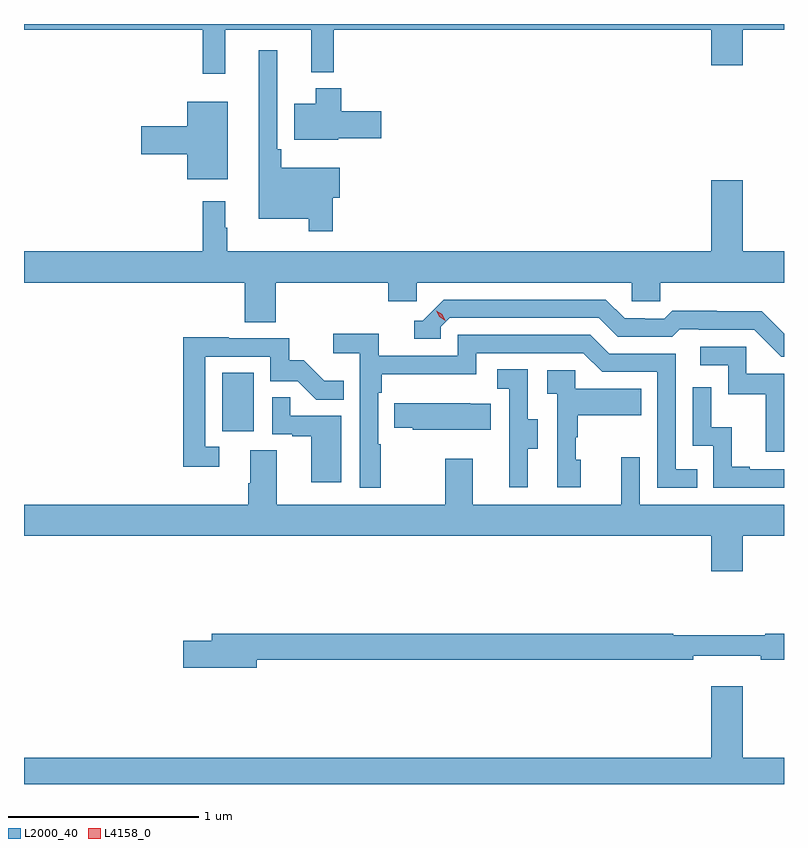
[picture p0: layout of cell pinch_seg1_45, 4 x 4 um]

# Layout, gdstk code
import gdstk
lib = gdstk.Library(unit=1e-6, precision=1e-09)
def R(c, l, rs):  # rectangles x0, y0, x1, y1
    for r in rs: c.add(gdstk.rectangle(r[:2], r[2:], *l))
def P(c, l, *ps):  # polygons
    for p in ps: c.add(gdstk.Polygon(p, *l))
L2000_40 = (2000, 40)
L4158_0 = (4158, 0)

pinch_seg1_45 = lib.new_cell('pinch_seg1_45')
R(pinch_seg1_45, L2000_40, [(1097.498,564.27,1097.662,564.577)])
P(pinch_seg1_45, L2000_40, [(1097.513,566.384),(1097.966,566.384),(1097.966,566.159),(1098.083,566.159),(1098.083,566.384),(1100.072,566.384),(1100.072,566.196),(1100.236,566.196),(1100.236,566.384),(1100.454,566.384),(1100.454,566.413),(1096.454,566.413),(1096.454,566.384),(1097.395,566.384),(1097.395,566.151),(1097.513,566.151)],
  [(1098.08,565.499),(1098.115,565.499),(1098.115,565.657),(1097.807,565.657),(1097.807,565.753),(1097.787,565.753),(1097.787,566.275),(1097.69,566.275),(1097.69,565.388),(1097.952,565.388),(1097.952,565.323),(1098.08,565.323)],
  [(1098.108,565.811),(1098.334,565.811),(1098.334,565.953),(1098.125,565.953),(1098.125,566.074),(1097.99,566.074),(1097.99,565.993),(1097.876,565.993),(1097.876,565.805),(1098.108,565.805)],
  [(1097.527,566.005),(1097.312,566.005),(1097.312,565.874),(1097.07,565.874),(1097.07,565.727),(1097.312,565.727),(1097.312,565.595),(1097.527,565.595)],
  [(1097.78,565.052),(1098.371,565.052),(1098.371,564.954),(1098.522,564.954),(1098.522,565.052),(1099.653,565.052),(1099.653,564.954),(1099.803,564.954),(1099.803,565.052),(1100.454,565.052),(1100.454,565.216),(1100.236,565.216),(1100.236,565.591),(1100.072,565.591),(1100.072,565.216),(1097.524,565.216),(1097.524,565.34),(1097.512,565.34),(1097.512,565.48),(1097.395,565.48),(1097.395,565.216),(1096.454,565.216),(1096.454,565.052),(1097.615,565.052),(1097.615,564.844),(1097.78,564.844)],
  [(1100.454,564.783),(1100.336,564.901),(1100.1,564.901),(1100.1,564.904),(1099.867,564.904),(1099.825,564.861),(1099.722,564.861),(1099.722,564.864),(1099.615,564.864),(1099.516,564.963),(1098.663,564.963),(1098.552,564.852),(1098.509,564.852),(1098.509,564.756),(1098.648,564.756),(1098.648,564.819),(1098.696,564.867),(1099.479,564.867),(1099.578,564.768),(1099.867,564.768),(1099.906,564.807),(1100.005,564.807),(1100.005,564.804),(1100.298,564.804),(1100.439,564.663),(1100.454,564.663)],
  [(1098.331,564.2),(1098.318,564.2),(1098.318,564.473),(1098.338,564.473),(1098.338,564.569),(1098.834,564.569),(1098.834,564.681),(1099.398,564.681),(1099.497,564.582),(1099.788,564.582),(1099.788,563.973),(1099.997,563.973),(1099.997,564.069),(1099.884,564.069),(1099.884,564.678),(1099.534,564.678),(1099.435,564.777),(1098.738,564.777),(1098.738,564.666),(1098.32,564.666),(1098.32,564.782),(1098.081,564.782),(1098.081,564.68),(1098.222,564.68),(1098.222,563.973),(1098.331,563.973)],
  [(1097.482,564.189),(1097.409,564.189),(1097.409,564.663),(1097.751,564.663),(1097.751,564.534),(1097.895,564.534),(1097.993,564.436),(1098.137,564.436),(1098.137,564.535),(1098.033,564.535),(1097.926,564.642),(1097.85,564.642),(1097.85,564.759),(1097.531,564.759),(1097.531,564.764),(1097.293,564.764),(1097.293,564.084),(1097.482,564.084)],
  [(1100.454,564.573),(1100.256,564.573),(1100.256,564.714),(1100.013,564.714),(1100.013,564.618),(1100.16,564.618),(1100.16,564.465),(1100.359,564.465),(1100.359,564.162),(1100.454,564.162)],
  [(1099.105,564.178),(1099.159,564.178),(1099.159,564.333),(1099.104,564.333),(1099.104,564.596),(1098.945,564.596),(1098.945,564.493),(1099.008,564.493),(1099.008,564.189),(1099.007,564.189),(1099.007,563.976),(1099.105,563.976)],
  [(1099.384,564.12),(1099.359,564.12),(1099.359,564.239),(1099.369,564.239),(1099.369,564.353),(1099.703,564.353),(1099.703,564.493),(1099.356,564.493),(1099.356,564.591),(1099.209,564.591),(1099.209,564.467),(1099.26,564.467),(1099.26,563.976),(1099.384,563.976)],
  [(1100.454,564.069),(1100.275,564.069),(1100.275,564.082),(1100.18,564.082),(1100.18,564.29),(1100.07,564.29),(1100.07,564.502),(1099.974,564.502),(1099.974,564.192),(1100.082,564.192),(1100.082,563.973),(1100.454,563.973)],
  [(1098.124,564.351),(1097.855,564.351),(1097.855,564.449),(1097.76,564.449),(1097.76,564.255),(1097.867,564.255),(1097.867,564.243),(1097.966,564.243),(1097.966,564),(1098.124,564)],
  [(1098.911,564.415),(1098.803,564.415),(1098.803,564.418),(1098.403,564.418),(1098.403,564.289),(1098.501,564.289),(1098.501,564.278),(1098.911,564.278)],
  [(1100.236,563.72),(1100.454,563.72),(1100.454,563.884),(1099.695,563.884),(1099.695,564.133),(1099.598,564.133),(1099.598,563.884),(1098.817,563.884),(1098.817,564.124),(1098.67,564.124),(1098.67,563.884),(1097.785,563.884),(1097.785,564.17),(1097.645,564.17),(1097.645,563.996),(1097.633,563.996),(1097.633,563.884),(1096.454,563.884),(1096.454,563.72),(1100.072,563.72),(1100.072,563.532),(1100.236,563.532)],
  [(1097.68,563.068),(1099.976,563.068),(1099.976,563.087),(1100.332,563.087),(1100.332,563.068),(1100.454,563.068),(1100.454,563.204),(1100.355,563.204),(1100.355,563.197),(1099.87,563.197),(1099.87,563.204),(1097.441,563.204),(1097.441,563.168),(1097.292,563.168),(1097.292,563.026),(1097.68,563.026)],
  [(1100.454,562.552),(1100.236,562.552),(1100.236,562.927),(1100.072,562.927),(1100.072,562.552),(1096.454,562.552),(1096.454,562.413),(1100.454,562.413)])
P(pinch_seg1_45, L4158_0, [(1098.671,564.852),(1098.64,564.871),(1098.624,564.903),(1098.624,564.904),(1098.624,564.904),(1098.655,564.885),(1098.671,564.853),(1098.671,564.852)])

lib.write_gds('pinch_seg1_45.gds')
